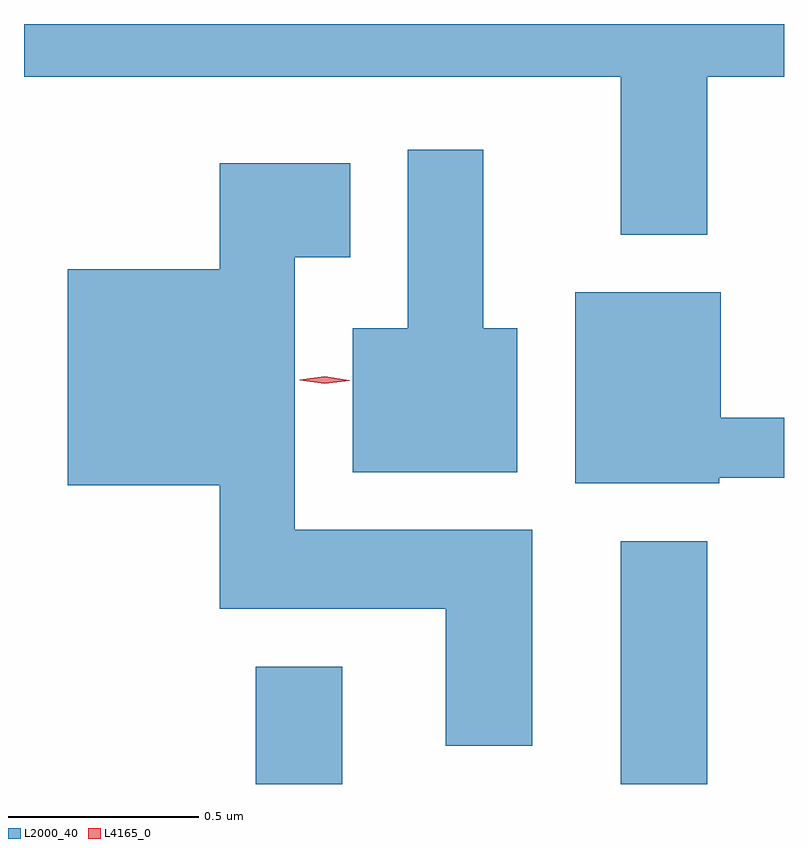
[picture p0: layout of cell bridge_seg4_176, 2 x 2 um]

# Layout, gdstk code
import gdstk
lib = gdstk.Library(unit=1e-6, precision=1e-09)
def R(c, l, rs):  # rectangles x0, y0, x1, y1
    for r in rs: c.add(gdstk.rectangle(r[:2], r[2:], *l))
def P(c, l, *ps):  # polygons
    for p in ps: c.add(gdstk.Polygon(p, *l))
L2000_40 = (2000, 40)
L4165_0 = (4165, 0)

bridge_seg4_176 = lib.new_cell('bridge_seg4_176')
R(bridge_seg4_176, L2000_40, [(946.141,1279.555,946.369,1279.864), (947.101,1279.555,947.329,1280.194)])
P(bridge_seg4_176, L2000_40, [(947.329,1281.416),(947.531,1281.416),(947.531,1281.555),(945.531,1281.555),(945.531,1281.416),(947.101,1281.416),(947.101,1281.001),(947.329,1281.001)],
  [(946.829,1280.754),(946.739,1280.754),(946.739,1281.224),(946.541,1281.224),(946.541,1280.754),(946.396,1280.754),(946.396,1280.376),(946.829,1280.376)],
  [(946.869,1280.224),(946.244,1280.224),(946.244,1280.941),(946.389,1280.941),(946.389,1281.189),(946.046,1281.189),(946.046,1280.909),(945.646,1280.909),(945.646,1280.341),(946.046,1280.341),(946.046,1280.016),(946.641,1280.016),(946.641,1279.656),(946.869,1279.656)],
  [(947.36,1280.361),(947.531,1280.361),(947.531,1280.519),(947.364,1280.519),(947.364,1280.849),(946.981,1280.849),(946.981,1280.346),(947.36,1280.346)])
P(bridge_seg4_176, L4165_0, [(946.322,1280.608),(946.256,1280.618),(946.256,1280.619),(946.256,1280.619),(946.322,1280.628),(946.387,1280.617),(946.388,1280.616),(946.387,1280.616)])

lib.write_gds('bridge_seg4_176.gds')
